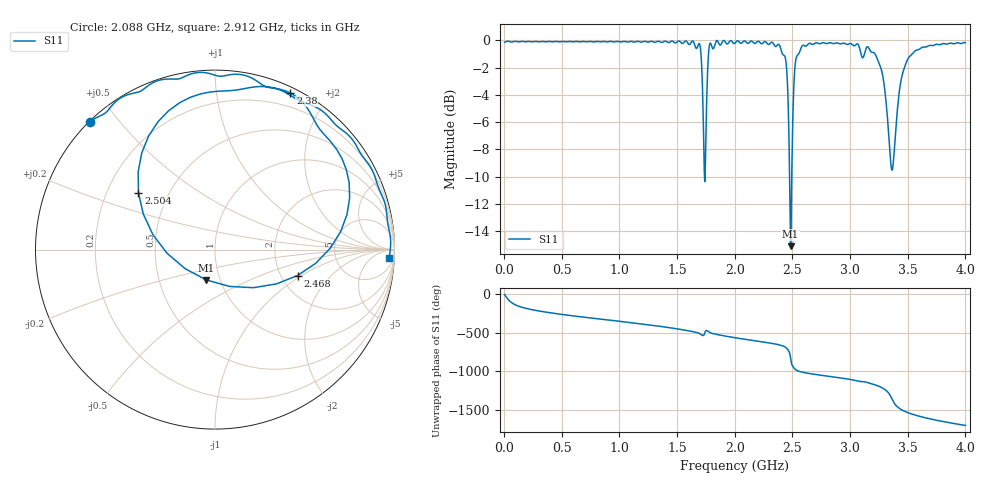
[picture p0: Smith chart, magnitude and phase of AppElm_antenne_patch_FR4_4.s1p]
! TOUCHSTONE file generated by CST MICROWAVE STUDIO
! Date and time: Tue Jun 14 11:51:00 2022
! Project name: AppElm_antenne_patch_FR4.cst
! Parameters = {L=40.5; W=58.5; e=0.035; h=1.6; lambda=0.190476; ls=120; w0=2.54; w1=0.847; ws=120; y0=18; y1=23.8}
! Header version: 2018
! Port assignment regex: !\s*Touchstone port\s*([0-9]+)\s*=\s*(CST MWS port|CST DS port)\s*([0-9]+|Zmin|Zmax)\s*\(\"(.*)\"\)(\s*mode\s*([0-9]+))?.*
! Touchstone port assignment:
! Touchstone port 1 = CST MWS port 1 ("")
# GHz S MA R 50
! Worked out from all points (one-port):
!   1000 points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, 4 MHz to 4 GHz, reference 50 ohm
!   lowest |S11| = -15.1 dB at 2.484 GHz (marker M1), VSWR 1.43, Z = 43 - j15 ohm
!   |S11| at or under -10 dB: 1.737882 GHz to 1.741739 GHz (3.857 MHz wide, 0.222 % of centre); 2.475 GHz to 2.494 GHz (19.07 MHz wide, 0.768 % of centre)
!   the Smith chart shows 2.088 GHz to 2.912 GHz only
!   S11 on the Smith chart (normalised r, x): 2.088 GHz: 0.00, +0.42; 2.38 GHz: 0.06, +1.59; 2.468 GHz: 2.46, -0.92; 2.504 GHz: 0.34, +0.30; 2.912 GHz: 17, -30
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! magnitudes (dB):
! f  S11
! 4 MHz  -0.1
! 504 MHz  -0.1
! 1.004 GHz  -0.1
! 1.504 GHz  -0.1
! 1.692 GHz  -0.2
! 1.74 GHz  -10.4
! 1.752 GHz  -6.1
! 1.776 GHz  -0.6
! 1.788 GHz  -0.2
! 2.004 GHz  -0.2
! 2.088 GHz  0.0
! 2.38 GHz  -0.3
! 2.44 GHz  -1.3
! 2.452 GHz  -2.4
! 2.468 GHz  -6.3
! 2.484 GHz  -15.1
! 2.504 GHz  -5.5
! 2.516 GHz  -2.7
! 2.528 GHz  -1.5
! 2.568 GHz  -0.7
! 2.912 GHz  -0.3
! 3.004 GHz  -0.2
! 3.256 GHz  -1.8
! 3.296 GHz  -3.3
! 3.364 GHz  -9.5
! 3.436 GHz  -3.2
! 3.504 GHz  -1.3
! 4 GHz  -0.2
